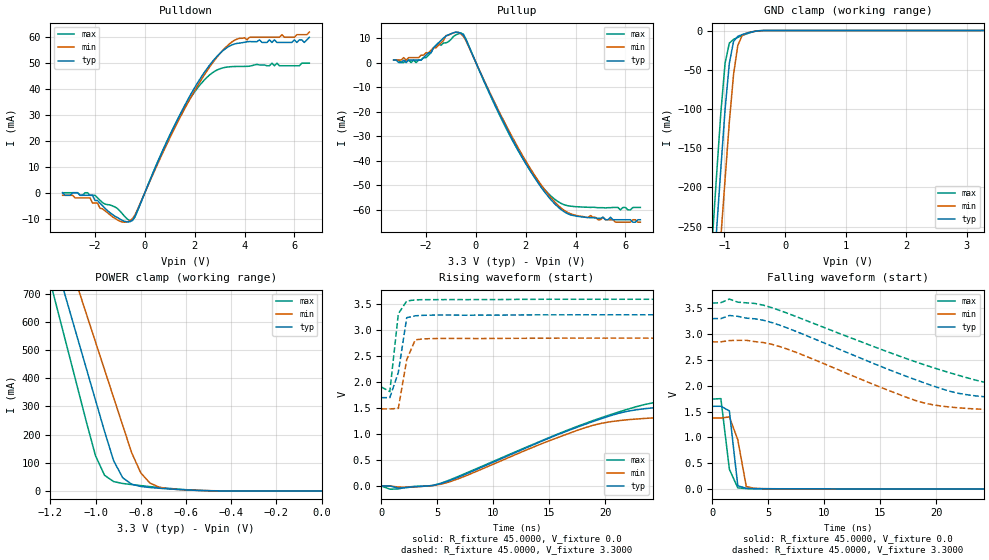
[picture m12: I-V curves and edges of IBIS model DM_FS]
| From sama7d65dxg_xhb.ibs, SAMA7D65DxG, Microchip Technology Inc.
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|   Model FS_DM
[Model]  DM_FS
Model_type I/O
Polarity   Inverting
Enable   Active-Low
Vinl =   0.8000V
Vinh =   1.3000V
Vmeas =  0.0V
C_comp 6.3991pF 6.0171pF 6.7339pF
[Temperature Range]   25.0000   125.0000   -40.0000
[Voltage Range]   3.3000V   2.8500V   3.6000V
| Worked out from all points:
|   slope of the pulldown table from 0 to 0.495 V, typ, clamps not added: 43.8 ohm
|   slope of the pullup table from 0 to 0.495 V, typ, clamps not added: 44.2 ohm
|   GND clamp passes 1 mA (typ) near -0.50 V on its own axis
|   POWER clamp passes 1 mA (typ) near -0.51 V on its own axis
|   rising waveform, R_fixture 45.0000, V_fixture 0.0: 20-80 % time 10.9ns typ, 9.47ns min, 12.1ns max; typ from 0 V to 1.6 V
|   rising waveform, R_fixture 45.0000, V_fixture 3.3000: 20-80 % time 826ps typ, 826ps min, 515ps max; typ from 1.7 V to 3.3 V
|   falling waveform, R_fixture 45.0000, V_fixture 0.0: 20-80 % time 498ps typ, 816ps min, 638ps max; typ from 1.6 V to 0 V
|   falling waveform, R_fixture 45.0000, V_fixture 3.3000: 20-80 % time 11.1ns typ, 9.3ns min, 12.9ns max; typ from 3.3 V to 1.7 V
[Pulldown]
|Voltage   I(typ)   I(min)   I(max)
-3.3V     0A         -1mA       0A
-2.2V     -1mA       -2mA       -1mA
-2.1V     -1mA       -4mA       -1mA
-2V       -3mA       -4mA       -1mA
-1V       -10.2mA    -11mA      -7.06mA
-500mV    -10.63mA   -10.07mA   -10.74mA
1.3V      28.07mA    26.91mA    27.83mA
2V        40.58mA    39.38mA    38.93mA
2.6V      49.26mA    48.52mA    45.47mA
3.7V      57.63mA    59.3mA     48.73mA
6.4V      58mA       61mA       50mA
6.6V      60mA       62mA       50mA
[Pullup]
|Voltage   I(typ)   I(min)   I(max)
-3.3V     1mA        1mA        1mA
-2.4V     1mA        2mA        0A
-1.8V     4mA        5mA        4mA
-1.5V     8mA        7mA        8mA
-1.2V     10.8mA     11mA       8mA
-600mV    11.98mA    11.66mA    11.97mA
-400mV    9.279mA    8.897mA    9.599mA
700mV     -15.67mA   -15.16mA   -16.07mA
1.6V      -33.86mA   -32.95mA   -34.17mA
3V        -55.72mA   -54.87mA   -54.23mA
4V        -62.48mA   -62.2mA    -58.67mA
6.6V      -64mA      -65mA      -59mA
[GND_clamp]
|Voltage   I(typ)   I(min)   I(max)
-3.3V     -2.685A    -2.642A    -2.742A
-1.2V     -332.4mA   -412.7mA   -266.1mA
-1.13V    -254.3mA   -338.4mA   -184.1mA
-1.06V    -176.1mA   -264mA     -104.7mA
-990mV    -100.9mA   -189.8mA   -41.79mA
-920mV    -41.79mA   -116.9mA   -16.05mA
-850mV    -13.87mA   -55.94mA   -11.26mA
-780mV    -7.47mA    -19.03mA   -8.807mA
-710mV    -5.247mA   -6.695mA   -6.552mA
-640mV    -3.592mA   -3.435mA   -4.446mA
-430mV    -282.8uA   -339.8uA   -248uA
3.28V     1.631nA    254.2uA    1.433nA
[POWER_clamp]
|Voltage   I(typ)   I(min)   I(max)
-3.28V    6.675A     6.175A     7.252A
-1.2V     875.5mA    1.02A      741.3mA
-1.16V    764.7mA    922.2mA    616.9mA
-1.12V    653.9mA    823.6mA    492.5mA
-1.08V    543.1mA    725.1mA    368mA
-1V       321.7mA    528.1mA    124.7mA
-960mV    211mA      429.6mA    55.41mA
-920mV    107.5mA    331.3mA    33.17mA
-880mV    47.02mA    232.9mA    26.43mA
-800mV    15.88mA    64.11mA    18.88mA
-760mV    12.18mA    28.25mA    15.44mA
0V        1.661nA    3.195nA    1.751nA
[Ramp]
| variable   typ   min   max
dV/dt_r  0.9618/10.8188n   0.8256/9.3792n   1.0452/11.9771n
dV/dt_f  0.9594/10.9990n   0.8196/9.2108n   1.0164/12.7805n
R_load = 45.0000
[Rising Waveform]
R_fixture= 45.0000
V_fixture= 0.0
V_fixture_min= 0.0
V_fixture_max= 0.0
|time   V(typ)   V(min)   V(max)
0s        0V         0V         0V
760ps     -300.4uV   -558.8uV   -62.51mV
1.52ns    -43.22mV   -22.14mV   -59.28mV
5.3ns     43.39mV    31.64mV    50.03mV
15.15ns   935.2mV    882.5mV    946.1mV
18.94ns   1.243V     1.17V      1.261V
21.97ns   1.438V     1.275V     1.476V
25.76ns   1.528V     1.325V     1.643V
38.64ns   1.597V     1.37V      1.733V
75ns      1.603V     1.376V     1.742V
[Rising Waveform]
R_fixture= 45.0000
V_fixture= 3.3000
V_fixture_min= 2.8500
V_fixture_max= 3.6000
|time   V(typ)   V(min)   V(max)
0s        1.701V     1.484V     1.906V
760ps     1.701V     1.483V     1.818V
1.52ns    2.189V     1.494V     3.317V
2.27ns    3.241V     2.434V     3.563V
3.03ns    3.278V     2.814V     3.584V
3.79ns    3.287V     2.833V     3.589V
5.3ns     3.292V     2.841V     3.589V
15.91ns   3.296V     2.847V     3.596V
75ns      3.3V       2.85V      3.6V
[Falling Waveform]
R_fixture= 45.0000
V_fixture= 0.0
V_fixture_min= 0.0
V_fixture_max= 0.0
|time   V(typ)   V(min)   V(max)
0s        1.603V     1.376V     1.742V
760ps     1.604V     1.376V     1.752V
1.52ns    1.515V     1.398V     385.3mV
2.27ns    66.04mV    957.1mV    25.04mV
3.03ns    16.33mV    50.62mV    10.82mV
3.79ns    9.795mV    15.46mV    8.515mV
5.3ns     7.965mV    8.241mV    7.844mV
15.15ns   3.162mV    2.795mV    3.35mV
75ns      7.074uV    5.154uV    11.85uV
[Falling Waveform]
R_fixture= 45.0000
V_fixture= 3.3000
V_fixture_min= 2.8500
V_fixture_max= 3.6000
|time   V(typ)   V(min)   V(max)
0s        3.3V       2.85V      3.6V
760ps     3.3V       2.85V      3.608V
1.52ns    3.36V      2.875V     3.678V
3.03ns    3.309V     2.88V      3.605V
6.06ns    3.169V     2.756V     3.455V
18.94ns   2.056V     1.666V     2.407V
21.97ns   1.855V     1.574V     2.203V
26.52ns   1.758V     1.525V     1.991V
37.88ns   1.708V     1.491V     1.915V
75ns      1.701V     1.484V     1.906V
